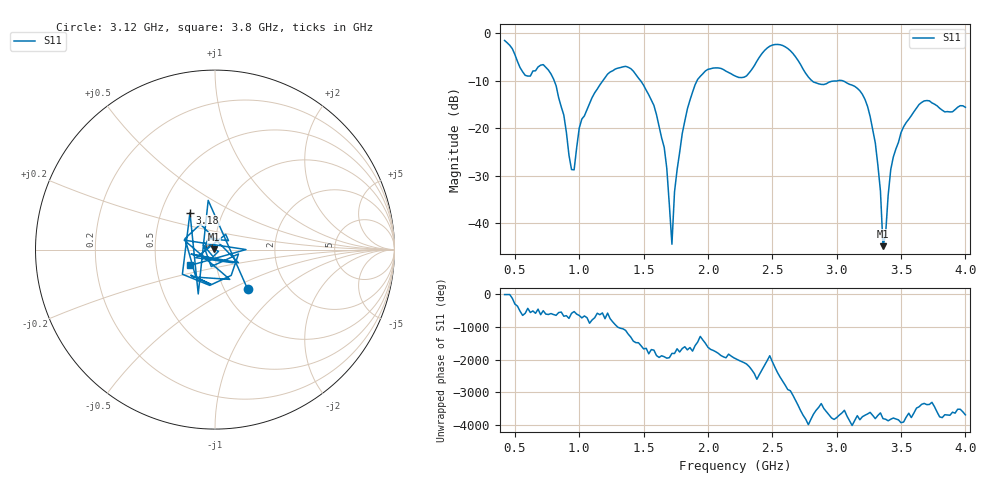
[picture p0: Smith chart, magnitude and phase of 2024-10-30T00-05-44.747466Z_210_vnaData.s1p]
!Created with skrf (http://scikit-rf.org).
# Hz S RI R 50.0
!freq ReS11 ImS11
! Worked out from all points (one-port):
!   180 points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, 420 MHz to 4 GHz, reference 50 ohm
!   lowest |S11| = -44.8 dB at 3.36 GHz (marker M1), VSWR 1.01, Z = 49.5 + j0.213 ohm
!   |S11| at or under -10 dB: 805.7 MHz to 1.183 GHz (377.1 MHz wide, 37.9 % of centre); 1.477 GHz to 1.915 GHz (437.3 MHz wide, 25.8 % of centre); 3.047 GHz to end of sweep (the widest 3 of 4)
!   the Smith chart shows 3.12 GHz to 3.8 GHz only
!   S11 on the Smith chart (normalised r, x): 3.12 GHz: 1.28, -0.61; 3.18 GHz: 0.70, +0.31; 3.8 GHz: 0.75, -0.14
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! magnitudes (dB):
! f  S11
! 420 MHz  -1.5
! 580 MHz  -8.8
! 760 MHz  -7.7
! 880 MHz  -17.2
! 940 MHz  -28.7
! 960 MHz  -28.7
! 1.02 GHz  -18.0
! 1.32 GHz  -7.2
! 1.58 GHz  -15.2
! 1.66 GHz  -24.0
! 1.72 GHz  -44.4
! 1.74 GHz  -33.4
! 1.78 GHz  -25.1
! 1.92 GHz  -9.7
! 2.22 GHz  -9.1
! 2.5 GHz  -2.5
! 2.66 GHz  -4.2
! 2.82 GHz  -10.3
! 3.12 GHz  -10.9
! 3.18 GHz  -12.1
! 3.3 GHz  -23.1
! 3.34 GHz  -33.2
! 3.36 GHz  -44.8
! 3.38 GHz  -42.4
! 3.42 GHz  -28.7
! 3.56 GHz  -18.1
! 3.8 GHz  -15.8
! 4 GHz  -15.6
